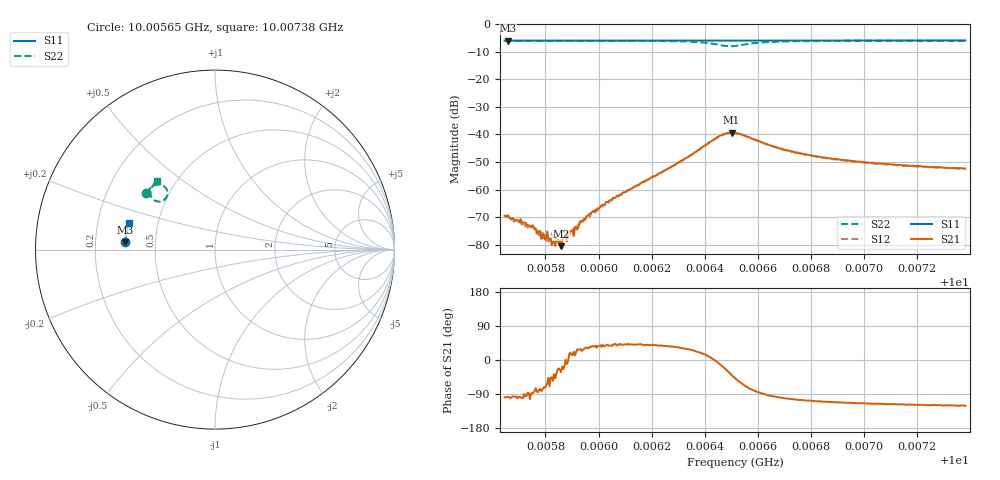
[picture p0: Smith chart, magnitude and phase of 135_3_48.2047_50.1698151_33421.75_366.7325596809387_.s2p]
#  HZ  S  RI  R  50.00
! Rohde & Schwarz Vector Network Analyzer
! Rohde-Schwarz,ZNB20-2Port,1311601062101988,3.16
! Created: UTC 3/20/2024, 11:42:05 AM
! freq[Hz]  re:S11  im:S11  re:S21  im:S21  re:S12  im:S12  re:S22  im:S22
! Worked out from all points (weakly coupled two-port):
!   401 points, 10.00565 GHz to 10.00738 GHz, reference 50 ohm
!   highest |S21| = -39.32 dB at 10.0065 GHz (marker M1); lowest = -80.5 dB at 10.00586 GHz (marker M2)
!   lowest |S11| = -6.0 dB at 10.00566 GHz (marker M3), VSWR 3.01, Z = 16.7 + j1.8 ohm
!   |S11| at or under -10 dB: nowhere
!   |S22| runs from -8.0 to -6.0 dB; largest |S21 - S12| = 0.00062
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1.0005646e10  -0.4993 0.0396  -5.12e-05 -0.000335  -4.08e-05 -0.000327  -0.3837 0.3162
1.0005659e10  -0.4993 0.0404  -4.41e-05 -0.000342  -5.12e-05 -0.000321  -0.383 0.3169
1.0005694e10  -0.4991 0.0427  -5.66e-05 -0.000279  -2.71e-05 -0.000275  -0.3814 0.3192
1.0005715e10  -0.4991 0.0441  -4.72e-05 -0.000246  -2.86e-05 -0.000221  -0.3804 0.3204
1.0005746e10  -0.499 0.0461  6.65e-06 -0.000205  -7.67e-06 -0.000213  -0.3789 0.3223
1.0005794e10  -0.4987 0.0491  4.72e-05 -0.000147  2.94e-05 -0.000129  -0.3764 0.3253
1.0005811e10  -0.4987 0.0502  8.51e-05 -9.09e-05  3.96e-05 -0.000107  -0.3757 0.3263
1.0005828e10  -0.4986 0.0515  6.68e-05 -9.63e-05  0.000117 -8.08e-05  -0.3746 0.3275
1.000585e10  -0.4984 0.053  0.000101 -4.14e-05  0.000118 -4.72e-05  -0.3735 0.3289
1.0005859e10  -0.4984 0.0534  8.03e-05 -5e-05  0.000112 -4.37e-06  -0.3729 0.3294
1.0005893e10  -0.4981 0.0557  0.000164 5.86e-05  0.000153 3.75e-05  -0.3708 0.3315
1.0005915e10  -0.4982 0.0571  0.000202 7.29e-05  0.000221 7.36e-05  -0.3696 0.3329
1.0005937e10  -0.4981 0.0586  0.000239 0.000107  0.000217 0.000135  -0.3683 0.3345
1.000605e10  -0.4974 0.0659  0.000507 0.000387  0.000476 0.000459  -0.3603 0.3424
1.0006228e10  -0.4959 0.0773  0.00155 0.00122  0.00147 0.00126  -0.3415 0.3561
1.0006453e10  -0.4932 0.0919  0.00915 -0.00138  0.00897 -0.000884  -0.2658 0.325
1.0006501e10  -0.4925 0.0942  0.00836 -0.00685  0.00852 -0.00626  -0.2832 0.2772
1.0006514e10  -0.4926 0.0949  0.0072 -0.00795  0.00742 -0.00737  -0.2961 0.2702
1.0006679e10  -0.4916 0.1054  -0.00083 -0.00563  -0.000555 -0.00555  -0.3602 0.318
1.0006805e10  -0.4902 0.1136  -0.00128 -0.00393  -0.00107 -0.00391  -0.355 0.3407
1.0007096e10  -0.4863 0.1321  -0.00128 -0.00259  -0.00114 -0.00257  -0.3383 0.3665
1.0007382e10  -0.4815 0.1499  -0.00124 -0.00207  -0.00111 -0.00208  -0.3229 0.3833
